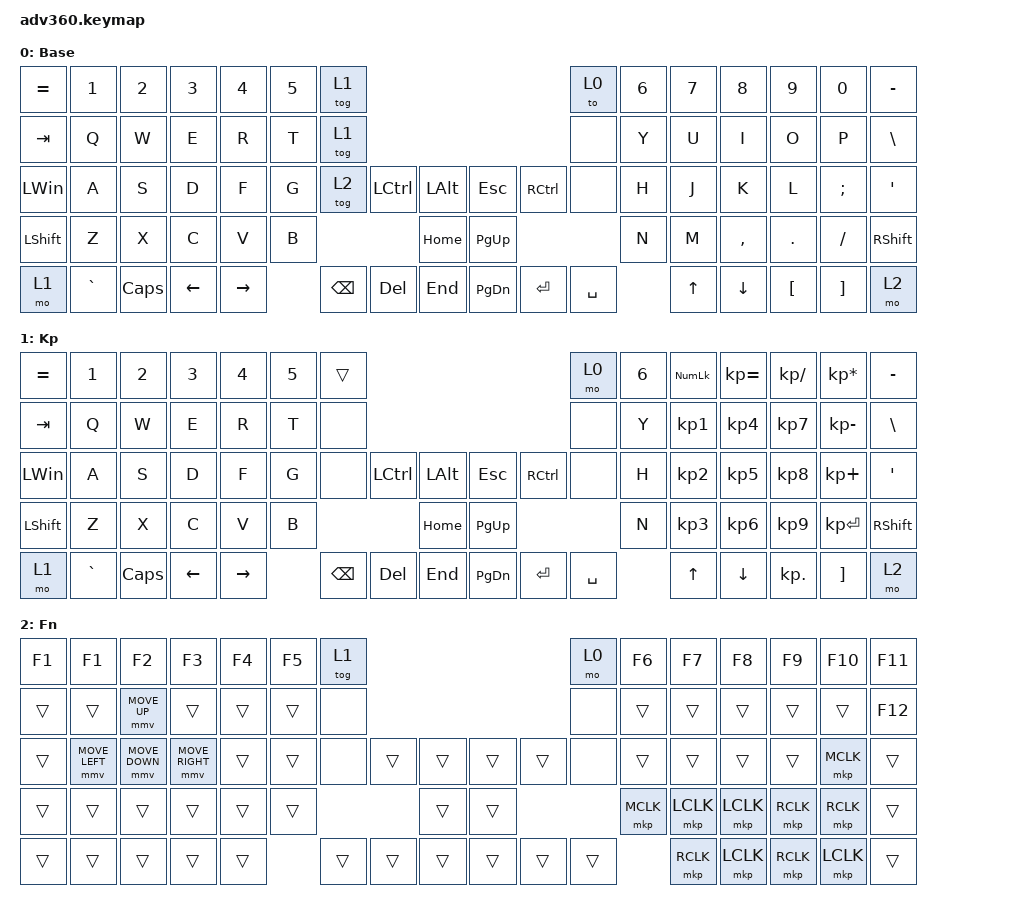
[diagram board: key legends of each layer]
#include <dt-bindings/zmk/stp.h>
#include <behaviors.dtsi>
#include <dt-bindings/zmk/keys.h>
#include <dt-bindings/zmk/pointing.h>
#include <dt-bindings/zmk/pointing.h>

/ {
    behaviors {
        #include "macros.dtsi"
      #include "version.dtsi"

        hm: homerow_mods {
            compatible = "zmk,behavior-hold-tap";
            label = "HOMEROW_MODS";
            #binding-cells = <2>;
            tapping-term-ms = <200>;
            quick_tap_ms = <175>;
            flavor = "tap-preferred";
            bindings = <&kp>, <&kp>;
        };
    };

    keymap {
        compatible = "zmk,keymap";

        default_layer {
            display-name = "Base";
            bindings = <
&kp EQUAL     &kp N1     &kp N2    &kp N3    &kp N4     &kp N5  &tog 1                                                    &to 0      &kp N6  &kp N7  &kp N8     &kp N9    &kp N0    &kp MINUS
&kp TAB       &kp Q      &kp W     &kp E     &kp R      &kp T   &tog 1                                                    &none      &kp Y   &kp U   &kp I      &kp O     &kp P     &kp BSLH
&kp LEFT_WIN  &kp A      &kp S     &kp D     &kp F      &kp G   &tog 2    &kp LCTRL  &kp LALT      &kp ESCAPE  &kp RCTRL  &none      &kp H   &kp J   &kp K      &kp L     &kp SEMI  &kp SQT
&kp LSHFT     &kp Z      &kp X     &kp C     &kp V      &kp B                        &kp HOME      &kp PG_UP                         &kp N   &kp M   &kp COMMA  &kp DOT   &kp FSLH  &kp RSHFT
&mo 1         &kp GRAVE  &kp CAPS  &kp LEFT  &kp RIGHT          &kp BSPC  &kp DEL    &kp END       &kp PG_DN   &kp ENTER  &kp SPACE          &kp UP  &kp DOWN   &kp LBKT  &kp RBKT  &mo 2
            >;
        };

        keypad {
            display-name = "Kp";
            bindings = <
&kp EQUAL     &kp N1     &kp N2    &kp N3    &kp N4     &kp N5  &trans                                                    &mo 0      &kp N6  &kp KP_NUM       &kp KP_EQUAL     &kp KP_DIVIDE    &kp KP_MULTIPLY  &kp MINUS
&kp TAB       &kp Q      &kp W     &kp E     &kp R      &kp T   &none                                                     &none      &kp Y   &kp KP_NUMBER_1  &kp KP_NUMBER_4  &kp KP_NUMBER_7  &kp KP_MINUS     &kp BSLH
&kp LEFT_WIN  &kp A      &kp S     &kp D     &kp F      &kp G   &none     &kp LCTRL  &kp LALT      &kp ESCAPE  &kp RCTRL  &none      &kp H   &kp KP_NUMBER_2  &kp KP_NUMBER_5  &kp KP_NUMBER_8  &kp KP_PLUS      &kp SQT
&kp LSHFT     &kp Z      &kp X     &kp C     &kp V      &kp B                        &kp HOME      &kp PG_UP                         &kp N   &kp KP_NUMBER_3  &kp KP_NUMBER_6  &kp KP_NUMBER_9  &kp KP_ENTER     &kp RSHFT
&mo 1         &kp GRAVE  &kp CAPS  &kp LEFT  &kp RIGHT          &kp BSPC  &kp DEL    &kp END       &kp PG_DN   &kp ENTER  &kp SPACE          &kp UP           &kp DOWN         &kp KP_DOT       &kp RBKT         &mo 2
            >;
        };

        fn {
            display-name = "Fn";
            bindings = <
&kp F1  &kp F1          &kp F2          &kp F3           &kp F4  &kp F5  &tog 1                                      &mo 0   &kp F6     &kp F7     &kp F8     &kp F9     &kp F10    &kp F11
&trans  &trans          &mmv MOVE_UP    &trans           &trans  &trans  &none                                       &none   &trans     &trans     &trans     &trans     &trans     &kp F12
&trans  &mmv MOVE_LEFT  &mmv MOVE_DOWN  &mmv MOVE_RIGHT  &trans  &trans  &none   &trans  &trans      &trans  &trans  &none   &trans     &trans     &trans     &trans     &mkp MCLK  &trans
&trans  &trans          &trans          &trans           &trans  &trans                  &trans      &trans                  &mkp MCLK  &mkp LCLK  &mkp LCLK  &mkp RCLK  &mkp RCLK  &trans
&trans  &trans          &trans          &trans           &trans          &trans  &trans  &trans      &trans  &trans  &trans             &mkp RCLK  &mkp LCLK  &mkp RCLK  &mkp LCLK  &trans
            >;
        };
    };
};
